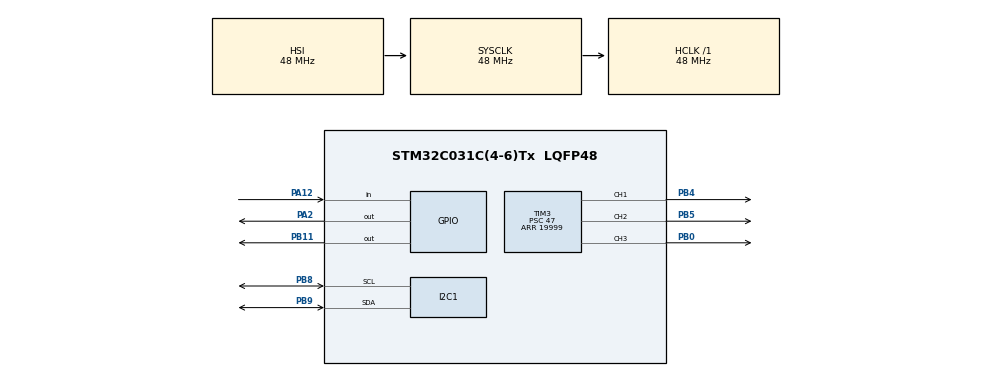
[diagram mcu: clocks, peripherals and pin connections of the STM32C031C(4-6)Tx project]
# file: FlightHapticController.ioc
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I2C1.Timing=0x10805D88
Mcu.Family=STM32C0
Mcu.Name=STM32C031C(4-6)Tx
Mcu.Package=LQFP48
PA12\ [PA10].GPIO_PuPd=GPIO_PULLDOWN
PA12\ [PA10].Signal=GPIO_Input
PA13.GPIO_Label=DEBUG_SWDIO
PA13.Signal=DEBUG_SWDIO
PA14-BOOT0.GPIO_Label=DEBUG_SWCLK
PA14-BOOT0.Signal=DEBUG_SWCLK
PA2.Signal=GPIO_Output
PA3.GPIO_Label=VCP_USART2_RX
PA3.Signal=USART2_RX
PB0.Signal=S_TIM3_CH3
PB11.Signal=GPIO_Output
PB4.Signal=S_TIM3_CH1
PB5.Signal=S_TIM3_CH2
PB8.Mode=I2C
PB8.Signal=I2C1_SCL
PB9.Mode=I2C
PB9.Signal=I2C1_SDA
PC14-OSCX_IN\ (PC14).GPIO_Label=RCC_OSCX_IN
PC14-OSCX_IN\ (PC14).Mode=LSE-External-Oscillator
PC14-OSCX_IN\ (PC14).Signal=RCC_OSCX_IN
PC15-OSCX_OUT\ (PC15).GPIO_Label=RCC_OSCX_OUT
PC15-OSCX_OUT\ (PC15).Mode=LSE-External-Oscillator
PC15-OSCX_OUT\ (PC15).Signal=RCC_OSCX_OUT
PF0-OSC_IN\ (PF0).GPIO_Label=RCC_OSC_IN
PF0-OSC_IN\ (PF0).Signal=RCC_OSC_IN
PF1-OSC_OUT\ (PF1).GPIO_Label=RCC_OSC_OUT
PF1-OSC_OUT\ (PF1).Signal=RCC_OSC_OUT
ProjectManager.HeapSize=0x200
ProjectManager.StackSize=0x400
ProjectManager.TargetToolchain=STM32CubeIDE
RCC.ADCFreq_Value=48000000
RCC.AHBFreq_Value=48000000
RCC.CortexFreq_Value=48000000
RCC.EXTERNAL_CLOCK_VALUE=12288000
RCC.HCLKFreq_Value=48000000
RCC.HSE_VALUE=48000000
RCC.HSISYSCLKDivider=RCC_HSI_DIV1
RCC.HSI_VALUE=48000000
RCC.SYSCLKFreq_VALUE=48000000
SH.S_TIM3_CH1.0=TIM3_CH1,PWM Generation1 CH1
SH.S_TIM3_CH2.0=TIM3_CH2,PWM Generation2 CH2
SH.S_TIM3_CH3.0=TIM3_CH3,PWM Generation3 CH3
TIM3.Channel-PWM\ Generation1\ CH1=TIM_CHANNEL_1
TIM3.Channel-PWM\ Generation2\ CH2=TIM_CHANNEL_2
TIM3.Channel-PWM\ Generation3\ CH3=TIM_CHANNEL_3
TIM3.Period=19999
TIM3.Prescaler=47
TIM3.Pulse-PWM\ Generation3\ CH3=1500           
VP_TIM3_VS_ClockSourceINT.Mode=Internal
board=NUCLEO-C031C6

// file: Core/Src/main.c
/* USER CODE BEGIN Header */
/**
  ******************************************************************************
  * @file           : main.c
  * @brief          : Main program body
  ******************************************************************************
  * @attention
  *
  * Copyright (c) 2026 STMicroelectronics.
  * All rights reserved.
  *
  * This software is licensed under terms that can be found in the LICENSE file
  * in the root directory of this software component.
  * If no LICENSE file comes with this software, it is provided AS-IS.
  *
  ******************************************************************************
  */
/* USER CODE END Header */
#include "main.h"

/* USER CODE BEGIN Includes */
#include <math.h>
#include <stddef.h>
#include <stdio.h>
#include <string.h>

/* USER CODE END Includes */

#ifndef HAPTIC_HOST_TEST

I2C_HandleTypeDef hi2c1;

TIM_HandleTypeDef htim3;

void SystemClock_Config(void);
static void MX_GPIO_Init(void);
static void MX_I2C1_Init(void);
static void MX_TIM3_Init(void);

/* USER CODE BEGIN 0 */
#endif /* !HAPTIC_HOST_TEST: generated variables/prototypes */

/* ===== Flight-envelope controller ===== */
#if !defined(HAPTIC_HOST_TEST) || defined(HAPTIC_TEST_CONTROLLER) || defined(HAPTIC_TEST_APP)
/* Haptic regions, 5-degree release hysteresis and latched flight-mode policy. */

#define RAD_TO_DEG (57.29577951308232f)
#define AXIS_COMPLIANT_ENTER (30.0f)
#define AXIS_CLAMP_ENTER (50.0f)
#define TILT_COMPLIANT_ENTER (20.0f)
#define TILT_CLAMP_ENTER (70.0f)
#define RELEASE_DEADBAND (5.0f)

/*
 * Shared magnitude FSM. Outward transitions use the stated limits and inward
 * transitions require a 5-degree retreat. Exact upper limits enter clamping;
 * this resolves the brief's unspecified equality at +/-50 and at tilt 20.
 * Direct jumps across multiple regions settle in the correct state immediately.
 */
static HapticZone UpdateZone(HapticZone previous, float magnitude,
                              float compliant_enter, float clamp_enter)
{
  const float free_release = compliant_enter - RELEASE_DEADBAND;
  const float clamp_release = clamp_enter - RELEASE_DEADBAND;

  /* A large outward jump must clamp even when the previous state was free. */
  if (magnitude >= clamp_enter)
  {
    return HAPTIC_CLAMPED;
  }

  switch (previous)
  {
    case HAPTIC_CLAMPED:
      /* A sampled jump back to level may cross both release limits at once. */
      if (magnitude <= free_release)
      {
        return HAPTIC_FREE;
      }
      if (magnitude <= clamp_release)
      {
        return HAPTIC_COMPLIANT;
      }
      return HAPTIC_CLAMPED;

    case HAPTIC_COMPLIANT:
      return magnitude <= free_release ? HAPTIC_FREE : HAPTIC_COMPLIANT;

    case HAPTIC_FREE:
    default:
      return magnitude >= compliant_enter ? HAPTIC_COMPLIANT : HAPTIC_FREE;
  }
}

/*
 * Reuse the same FSM for positive/negative roll and pitch. If a sampled command
 * reverses sign, it has crossed the free region; evaluate the new side from
 * free rather than carrying the opposite side's clamped state through zero.
 */
static void UpdateAxis(HapticAxis *axis, float angle)
{
  const int8_t direction = angle > 0.0f ? 1 : (angle < 0.0f ? -1 : 0);

  if (direction != axis->direction)
  {
    axis->zone = HAPTIC_FREE;
  }
  axis->zone = UpdateZone(axis->zone, fabsf(angle),
                          AXIS_COMPLIANT_ENTER, AXIS_CLAMP_ENTER);
  axis->direction = direction;
}

/*
 * Wokwi draws increasing servo angles clockwise (positive SVG rotation).
 * The assignment defines clockwise as negative, so subtract the signed command
 * from the 90-degree neutral position. Positive roll/pitch then move anticlockwise.
 */
static float AxisServoAngle(const HapticAxis *axis, float angle)
{
  if (axis->zone == HAPTIC_FREE)
  {
    return 90.0f;
  }
  if (axis->zone == HAPTIC_CLAMPED)
  {
    /* Hold the hard boundary throughout its inward hysteresis band. */
    return 90.0f - (float)axis->direction * AXIS_CLAMP_ENTER;
  }
  return 90.0f - angle;
}

void Haptic_Init(HapticController *controller)
{
  if (controller == NULL)
  {
    return;
  }

  /* Zero-valued enums deliberately represent free regions and manual mode. */
  *controller = (HapticController){0};
  controller->roll_servo_deg = 90.0f;
  controller->pitch_servo_deg = 90.0f;
  controller->tilt_servo_deg = 0.0f;
}

bool Haptic_CalculateAngles(float ax, float ay, float az, HapticAngles *out)
{
  float scale;
  HapticAngles calculated;

  if (out == NULL || !isfinite(ax) || !isfinite(ay) || !isfinite(az))
  {
    return false;
  }

  /*
   * The equations are independent of common scale. Normalising by the largest
   * component avoids overflow/underflow in squaring without changing angles.
   */
  scale = fmaxf(fabsf(ax), fmaxf(fabsf(ay), fabsf(az)));
  if (scale == 0.0f)
  {
    return false;
  }
  ax /= scale;
  ay /= scale;
  az /= scale;

  calculated.roll_deg = atan2f(ay, az) * RAD_TO_DEG;
  calculated.pitch_deg = atan2f(-ax, sqrtf(ay * ay + az * az)) * RAD_TO_DEG;
  calculated.tilt_deg = sqrtf(calculated.pitch_deg * calculated.pitch_deg
                              + calculated.roll_deg * calculated.roll_deg);
  *out = calculated;
  return true;
}

void Haptic_Update(HapticController *controller, const HapticAngles *angles,
                   bool sensor_valid, bool button_pressed)
{
  if (controller == NULL)
  {
    return;
  }

  /* Invalid data must never flow into comparisons or PWM conversion. */
  controller->sensor_valid = sensor_valid && angles != NULL
      && isfinite(angles->roll_deg) && isfinite(angles->pitch_deg)
      && isfinite(angles->tilt_deg) && angles->tilt_deg >= 0.0f;
  if (!controller->sensor_valid)
  {
    controller->mode = HAPTIC_AUTOPILOT;
    controller->roll_servo_deg = 90.0f;
    controller->pitch_servo_deg = 90.0f;
    controller->tilt_servo_deg = 0.0f;
    return;
  }

  controller->angles = *angles;
  UpdateAxis(&controller->roll, angles->roll_deg);
  UpdateAxis(&controller->pitch, angles->pitch_deg);
  controller->tilt_zone = UpdateZone(controller->tilt_zone, angles->tilt_deg,
                                     TILT_COMPLIANT_ENTER, TILT_CLAMP_ENTER);

  /* Automatic entry has priority over a button event in the same sample. */
  if (controller->roll.zone == HAPTIC_CLAMPED
      && controller->pitch.zone == HAPTIC_CLAMPED)
  {
    controller->mode = HAPTIC_AUTOPILOT;
  }
  else if (button_pressed)
  {
    if (controller->mode == HAPTIC_MANUAL)
    {
      controller->mode = HAPTIC_AUTOPILOT;
    }
    else if (controller->roll.zone == HAPTIC_FREE
             && controller->pitch.zone == HAPTIC_FREE
             && fabsf(angles->roll_deg) < AXIS_COMPLIANT_ENTER
             && fabsf(angles->pitch_deg) < AXIS_COMPLIANT_ENTER)
    {
      /* A rejected press is consumed; a later safe sample needs a new press. */
      controller->mode = HAPTIC_MANUAL;
    }
  }

  controller->roll_servo_deg = AxisServoAngle(&controller->roll, angles->roll_deg);
  controller->pitch_servo_deg = AxisServoAngle(&controller->pitch, angles->pitch_deg);

  /* Tilt has no sign and uses twice the detected angle to fill the servo range. */
  switch (controller->tilt_zone)
  {
    case HAPTIC_CLAMPED:
      controller->tilt_servo_deg = 2.0f * TILT_CLAMP_ENTER;
      break;
    case HAPTIC_COMPLIANT:
      controller->tilt_servo_deg = 2.0f * angles->tilt_deg;
      break;
    case HAPTIC_FREE:
    default:
      controller->tilt_servo_deg = 0.0f;
      break;
  }
}
#endif

/* ===== Software-I2C protocol ===== */
#if !defined(HAPTIC_HOST_TEST) || defined(HAPTIC_TEST_SOFT_I2C) || defined(HAPTIC_TEST_GPIO_I2C)
/*
 * Standard-mode I2C using real GPIO levels. No sensor samples are synthesized:
 * every address and written byte requires a slave ACK, and all received data
 * comes from SDA. This transport avoids reliance on simulated I2C status flags.
 */

#define HALF_PERIOD_US 5U
#define STRETCH_TIMEOUT_MS 2U
#define STRETCH_POLL_LIMIT 2000U

static bool ValidBus(const SoftI2CBus *bus)
{
  return bus != NULL && bus->set_scl != NULL && bus->set_sda != NULL
      && bus->read_scl != NULL && bus->read_sda != NULL
      && bus->delay_us != NULL && bus->get_tick != NULL;
}

static void HalfPeriod(SoftI2CBus *bus)
{
  bus->delay_us(bus->context, HALF_PERIOD_US);
}

/* Respect slave clock stretching, with a second bound if the tick freezes. */
static SoftI2CResult RaiseClock(SoftI2CBus *bus)
{
  const uint32_t start = bus->get_tick(bus->context);
  uint32_t polls = 0;
  bus->set_scl(bus->context, true);
  while (!bus->read_scl(bus->context))
  {
    if ((uint32_t)(bus->get_tick(bus->context) - start) >= STRETCH_TIMEOUT_MS
        || polls++ >= STRETCH_POLL_LIMIT)
    {
      return SOFT_I2C_TIMEOUT;
    }
    bus->delay_us(bus->context, 1U);
  }
  return SOFT_I2C_OK;
}

/* SDA falling while SCL is high is START, including a repeated START. */
static SoftI2CResult Start(SoftI2CBus *bus)
{
  bus->set_sda(bus->context, true);
  HalfPeriod(bus);
  if (RaiseClock(bus) != SOFT_I2C_OK) return SOFT_I2C_TIMEOUT;
  HalfPeriod(bus);
  if (!bus->read_sda(bus->context)) return SOFT_I2C_BUS_STUCK;
  bus->set_sda(bus->context, false);
  HalfPeriod(bus);
  bus->set_scl(bus->context, false);
  return SOFT_I2C_OK;
}

/* Release SDA even when a stuck clock makes a complete STOP impossible. */
static SoftI2CResult Stop(SoftI2CBus *bus)
{
  bus->set_scl(bus->context, false);
  bus->set_sda(bus->context, false);
  HalfPeriod(bus);
  const SoftI2CResult result = RaiseClock(bus);
  HalfPeriod(bus);
  bus->set_sda(bus->context, true);
  HalfPeriod(bus);
  if (result != SOFT_I2C_OK) return result;
  return bus->read_sda(bus->context) ? SOFT_I2C_OK : SOFT_I2C_BUS_STUCK;
}

/* Preserve the first transfer error while still trying to release the bus. */
static SoftI2CResult Finish(SoftI2CBus *bus, SoftI2CResult result)
{
  const SoftI2CResult stop_result = Stop(bus);
  return result == SOFT_I2C_OK ? stop_result : result;
}

/* Send MSB first, then release SDA for the slave's ninth-clock ACK. */
static SoftI2CResult WriteByte(SoftI2CBus *bus, uint8_t byte)
{
  for (unsigned bit = 0; bit < 8U; ++bit)
  {
    bus->set_sda(bus->context, (byte & 0x80U) != 0U);
    HalfPeriod(bus);
    if (RaiseClock(bus) != SOFT_I2C_OK) return SOFT_I2C_TIMEOUT;
    HalfPeriod(bus);
    bus->set_scl(bus->context, false);
    byte <<= 1;
  }
  bus->set_sda(bus->context, true);
  HalfPeriod(bus);
  if (RaiseClock(bus) != SOFT_I2C_OK) return SOFT_I2C_TIMEOUT;
  HalfPeriod(bus);
  const bool acknowledged = !bus->read_sda(bus->context);
  bus->set_scl(bus->context, false);
  return acknowledged ? SOFT_I2C_OK : SOFT_I2C_NACK;
}

/* A master ACK requests another byte; its final NACK terminates the read. */
static SoftI2CResult ReadByte(SoftI2CBus *bus, uint8_t *byte, bool acknowledge)
{
  uint8_t received = 0;
  bus->set_sda(bus->context, true);
  for (unsigned bit = 0; bit < 8U; ++bit)
  {
    HalfPeriod(bus);
    if (RaiseClock(bus) != SOFT_I2C_OK) return SOFT_I2C_TIMEOUT;
    HalfPeriod(bus);
    received = (uint8_t)((received << 1)
                    | (bus->read_sda(bus->context) ? 1U : 0U));
    bus->set_scl(bus->context, false);
  }
  bus->set_sda(bus->context, !acknowledge);
  HalfPeriod(bus);
  if (RaiseClock(bus) != SOFT_I2C_OK) return SOFT_I2C_TIMEOUT;
  HalfPeriod(bus);
  bus->set_scl(bus->context, false);
  bus->set_sda(bus->context, true);
  *byte = received;
  return SOFT_I2C_OK;
}

SoftI2CResult SoftI2C_Recover(SoftI2CBus *bus)
{
  if (!ValidBus(bus)) return SOFT_I2C_INVALID_ARGUMENT;
  bus->set_sda(bus->context, true);
  if (RaiseClock(bus) != SOFT_I2C_OK)
  {
    return SOFT_I2C_TIMEOUT;
  }
  HalfPeriod(bus);
  /* A slave waiting to finish an interrupted byte can release within 9 clocks. */
  for (unsigned pulse = 0; pulse < 9U && !bus->read_sda(bus->context); ++pulse)
  {
    bus->set_scl(bus->context, false);
    HalfPeriod(bus);
    if (RaiseClock(bus) != SOFT_I2C_OK) return Finish(bus, SOFT_I2C_TIMEOUT);
    HalfPeriod(bus);
  }
  const SoftI2CResult result = bus->read_sda(bus->context)
      ? SOFT_I2C_OK : SOFT_I2C_BUS_STUCK;
  return Finish(bus, result);
}

SoftI2CResult SoftI2C_ReadRegister(SoftI2CBus *bus, uint8_t address,
                                uint8_t reg, uint8_t *data, uint16_t length)
{
  if (!ValidBus(bus) || address > 0x7FU || data == NULL || length == 0U)
  {
    return SOFT_I2C_INVALID_ARGUMENT;
  }
  SoftI2CResult result = Start(bus);
  if (result == SOFT_I2C_OK) result = WriteByte(bus, (uint8_t)(address << 1));
  if (result == SOFT_I2C_OK) result = WriteByte(bus, reg);
  if (result == SOFT_I2C_OK) result = Start(bus);
  if (result == SOFT_I2C_OK)
  {
    result = WriteByte(bus, (uint8_t)((address << 1) | 1U));
  }
  for (uint16_t index = 0; result == SOFT_I2C_OK && index < length; ++index)
  {
    result = ReadByte(bus, &data[index], index + 1U < length);
  }
  return Finish(bus, result);
}

SoftI2CResult SoftI2C_WriteRegister(SoftI2CBus *bus, uint8_t address,
                                 uint8_t reg, const uint8_t *data,
                                 uint16_t length)
{
  if (!ValidBus(bus) || address > 0x7FU || data == NULL || length == 0U)
  {
    return SOFT_I2C_INVALID_ARGUMENT;
  }
  SoftI2CResult result = Start(bus);
  if (result == SOFT_I2C_OK) result = WriteByte(bus, (uint8_t)(address << 1));
  if (result == SOFT_I2C_OK) result = WriteByte(bus, reg);
  for (uint16_t index = 0; result == SOFT_I2C_OK && index < length; ++index)
  {
    result = WriteByte(bus, data[index]);
  }
  return Finish(bus, result);
}
#endif

/* ===== STM32 GPIO and timing adapter ===== */
#if !defined(HAPTIC_HOST_TEST) || defined(HAPTIC_TEST_GPIO_I2C)
/*
 * GPIO adapter for standards-based software I2C. This transport observes actual
 * SDA acknowledgements and register bytes; it does not supply simulated samples.
 * PB8/PB9 remain the assignment's SCL/SDA pins, independent of I2C1 emulation.
 */

#define MPU_ADDRESS_7BIT 0x68U
#define SCL_PIN GPIO_PIN_8
#define SDA_PIN GPIO_PIN_9
#define DELAY_GUARD_MS 2U
#define DELAY_POLL_LIMIT 4096U

/* A timing failure makes SCL unavailable instead of producing unclocked data. */
static bool timing_fault;
HapticSoftI2CStatus haptic_soft_i2c_status;

/* These readings bypass the timing guard in ReadScl: record electrical levels. */
static uint8_t RawBusLines(void)
{
  return (HAL_GPIO_ReadPin(GPIOB, SCL_PIN) == GPIO_PIN_SET ? 1U : 0U)
       | (HAL_GPIO_ReadPin(GPIOB, SDA_PIN) == GPIO_PIN_SET ? 2U : 0U);
}

/* In open-drain mode SET releases the pin; only RESET actively drives it low. */
static void SetScl(void *context, bool high)
{
  (void)context;
  HAL_GPIO_WritePin(GPIOB, SCL_PIN, high ? GPIO_PIN_SET : GPIO_PIN_RESET);
}

static void SetSda(void *context, bool high)
{
  (void)context;
  HAL_GPIO_WritePin(GPIOB, SDA_PIN, high ? GPIO_PIN_SET : GPIO_PIN_RESET);
}

/* Read physical line states so pullups, slave ACKs and clock stretching matter. */
static bool ReadScl(void *context)
{
  (void)context;
  return !timing_fault && HAL_GPIO_ReadPin(GPIOB, SCL_PIN) == GPIO_PIN_SET;
}

static bool ReadSda(void *context)
{
  (void)context;
  return HAL_GPIO_ReadPin(GPIOB, SDA_PIN) == GPIO_PIN_SET;
}

/*
 * Use the Cortex-M SysTick down-counter for microsecond bus timing. Account for
 * its reload across a millisecond boundary. IRQ/tick and iteration guards keep
 * an absent or stopped simulated counter from hanging the application.
 */
static void DelayUs(void *context, uint32_t microseconds)
{
  (void)context;
  const uint32_t control = SysTick->CTRL;
  const uint32_t reload = SysTick->LOAD + 1U;
  uint32_t clock_hz = SystemCoreClock;

  if ((control & SysTick_CTRL_CLKSOURCE_Msk) == 0U)
  {
    clock_hz /= 8U;
  }
  if (microseconds == 0U || timing_fault)
  {
    return;
  }
  /* Save the first failed delay; subsequent STOP/recovery cannot overwrite it. */
  haptic_soft_i2c_status.systick_ctrl = control;
  haptic_soft_i2c_status.systick_load = reload - 1U;
  haptic_soft_i2c_status.val_first = SysTick->VAL;
  haptic_soft_i2c_status.val_last = haptic_soft_i2c_status.val_first;
  haptic_soft_i2c_status.elapsed_cycles = 0U;
  haptic_soft_i2c_status.polls = 0U;
  if ((control & SysTick_CTRL_ENABLE_Msk) == 0U || reload <= 1U
      || clock_hz < 1000000U || microseconds > 1000U)
  {
    haptic_soft_i2c_status.timing_fault =
        (control & SysTick_CTRL_ENABLE_Msk) == 0U
        ? HAPTIC_TIMING_DISABLED : HAPTIC_TIMING_CONFIG;
    timing_fault = true;
    return;
  }

  uint32_t remaining = ((clock_hz + 999999U) / 1000000U) * microseconds;
  uint32_t previous = haptic_soft_i2c_status.val_first;
  bool tick_guard = false;
  const uint32_t started_ms = HAL_GetTick();
  for (uint32_t polls = 0U; polls < DELAY_POLL_LIMIT; ++polls)
  {
    const uint32_t current = SysTick->VAL;
    const uint32_t elapsed = previous >= current ? previous - current
                                               : previous + reload - current;
    haptic_soft_i2c_status.val_last = current;
    haptic_soft_i2c_status.polls = polls + 1U;
    haptic_soft_i2c_status.elapsed_cycles += elapsed;
    if (elapsed >= remaining)
    {
      return;
    }
    remaining -= elapsed;
    previous = current;
    if ((uint32_t)(HAL_GetTick() - started_ms) >= DELAY_GUARD_MS)
    {
      tick_guard = true;
      break;
    }
  }
  haptic_soft_i2c_status.timing_fault =
      haptic_soft_i2c_status.elapsed_cycles == 0U ? HAPTIC_TIMING_NO_PROGRESS
      : (tick_guard ? HAPTIC_TIMING_TICK_GUARD : HAPTIC_TIMING_POLL_GUARD);
  timing_fault = true;
}

static uint32_t GetTick(void *context)
{
  (void)context;
  return HAL_GetTick();
}

static SoftI2CBus bus = {
  .context = NULL,
  .set_scl = SetScl,
  .set_sda = SetSda,
  .read_scl = ReadScl,
  .read_sda = ReadSda,
  .delay_us = DelayUs,
  .get_tick = GetTick
};

bool HapticSoftI2C_Init(void)
{
  GPIO_InitTypeDef pins = {0};
  timing_fault = false;
  haptic_soft_i2c_status = (HapticSoftI2CStatus){0};
  __HAL_RCC_GPIOB_CLK_ENABLE();

  /* Preload released levels before switching the pins out of alternate mode. */
  HAL_GPIO_WritePin(GPIOB, SCL_PIN | SDA_PIN, GPIO_PIN_SET);
  pins.Pin = SCL_PIN | SDA_PIN;
  pins.Mode = GPIO_MODE_OUTPUT_OD;
  pins.Pull = GPIO_PULLUP;
  pins.Speed = GPIO_SPEED_FREQ_LOW;
  HAL_GPIO_Init(GPIOB, &pins);

  haptic_soft_i2c_status.lines_before = RawBusLines();
  haptic_soft_i2c_status.recover_result = SoftI2C_Recover(&bus);
  haptic_soft_i2c_status.lines_after = RawBusLines();
  haptic_soft_i2c_status.gpio_odr = GPIOB->ODR;
  haptic_soft_i2c_status.gpio_moder = GPIOB->MODER;
  haptic_soft_i2c_status.gpio_pupdr = GPIOB->PUPDR;
  return haptic_soft_i2c_status.recover_result == SOFT_I2C_OK && !timing_fault;
}

SoftI2CResult HapticSoftI2C_Read(uint8_t reg, uint8_t *data, uint16_t length)
{
  const SoftI2CResult result = SoftI2C_ReadRegister(&bus, MPU_ADDRESS_7BIT,
                                                reg, data, length);
  return timing_fault ? SOFT_I2C_TIMEOUT : result;
}

SoftI2CResult HapticSoftI2C_Write(uint8_t reg, uint8_t value)
{
  const SoftI2CResult result = SoftI2C_WriteRegister(&bus, MPU_ADDRESS_7BIT,
                                                 reg, &value, 1U);
  return timing_fault ? SOFT_I2C_TIMEOUT : result;
}
#endif

/* ===== Sensor sampling, servos, LEDs and button ===== */
#if !defined(HAPTIC_HOST_TEST) || defined(HAPTIC_TEST_APP)
/*
 * Assignment hardware adapter. MPU6050 acceleration and PWM are updated together
 * every 20 ms. Flight-envelope decisions use the controller section above.
 * STM32Cube-generated peripheral initialization follows below and in MSP code.
 */

#define MPU_ADDRESS (0x68U << 1)
#define MPU_ACCEL_XOUT_H 0x3BU
#define MPU_WHO_AM_I 0x75U
#define MPU_PWR_MGMT_1 0x6BU
#define MPU_ACCEL_CONFIG 0x1CU
#define SAMPLE_PERIOD_MS 20U
#define BUTTON_DEBOUNCE_MS 30U
#define SENSOR_RETRY_MS 1000U
#define I2C_TIMEOUT_MS 5U
#define I2C_ERROR_NO_ACK 0x00000004U
#define I2C_ERROR_TIMEOUT 0x00000020U
#define I2C_ERROR_GPIO_BUS 0x00010000U

HapticController haptic_controller;
HapticAppStatus haptic_app_status;
HapticHardwareI2CStatus haptic_hw_i2c_status;
static I2C_HandleTypeDef *sensor_i2c;
static TIM_HandleTypeDef *servo_timer;
static uint32_t last_sample_ms;
static uint32_t last_retry_ms;
static uint32_t button_changed_ms;
static GPIO_PinState button_candidate;
static GPIO_PinState button_stable;
static bool sensor_ready;
static bool pending_press;
static bool split_read_selected;

static bool hw_trace_active;
static uint32_t hw_trace_flag;
static uint32_t hw_trace_isr;
static uint32_t hw_trace_cr2;

/*
 * The instrumented driver reads ISR once, just as the original HAL macro does.
 * For a pure timeout, HAL rechecks the awaited flag immediately before returning;
 * that last observation identifies the actual BUSY/TXIS/TC/RXNE/STOPF wait.
 * No registers are written and no time or serial calls occur in this observer.
 */
uint32_t HapticTraceI2CFlag(I2C_HandleTypeDef *handle, uint32_t flag)
{
  const uint32_t isr = handle->Instance->ISR;
  if (hw_trace_active)
  {
    hw_trace_flag = flag;
    hw_trace_isr = isr;
    hw_trace_cr2 = handle->Instance->CR2;
  }
  return (isr & flag) == flag ? 1U : 0U;
}

static void BeginHardwareTrace(void)
{
  hw_trace_flag = 0U;
  hw_trace_isr = sensor_i2c->Instance->ISR;
  hw_trace_cr2 = sensor_i2c->Instance->CR2;
  hw_trace_active = true;
}

/* Save the first failure before deinitialization or GPIO ownership changes. */
static void EndHardwareTrace(void)
{
  hw_trace_active = false;
  haptic_app_status.i2c_error = HAL_I2C_GetError(sensor_i2c);
  if (haptic_app_status.hal_status == HAL_OK || haptic_hw_i2c_status.captured)
  {
    return;
  }
  haptic_hw_i2c_status.error = haptic_app_status.i2c_error;
  haptic_hw_i2c_status.flag = hw_trace_flag;
  haptic_hw_i2c_status.isr = hw_trace_isr;
  haptic_hw_i2c_status.cr1 = sensor_i2c->Instance->CR1;
  haptic_hw_i2c_status.cr2 = hw_trace_cr2;
  haptic_hw_i2c_status.timingr = sensor_i2c->Instance->TIMINGR;
  haptic_hw_i2c_status.gpio_idr = GPIOB->IDR;
  haptic_hw_i2c_status.moder = GPIOB->MODER;
  haptic_hw_i2c_status.otyper = GPIOB->OTYPER;
  haptic_hw_i2c_status.pupdr = GPIOB->PUPDR;
  haptic_hw_i2c_status.afr = GPIOB->AFR[1];
  haptic_hw_i2c_status.captured = true;
}

/* Preserve real bus errors when translating the GPIO transport's result. */
static bool SoftwareResult(SoftI2CResult result)
{
  haptic_app_status.hal_status = result == SOFT_I2C_OK ? HAL_OK : HAL_ERROR;
  haptic_app_status.i2c_error = result == SOFT_I2C_OK ? 0U
      : (result == SOFT_I2C_NACK ? I2C_ERROR_NO_ACK
      : (result == SOFT_I2C_TIMEOUT ? I2C_ERROR_TIMEOUT : I2C_ERROR_GPIO_BUS));
  return result == SOFT_I2C_OK;
}

/*
 * A simulator peripheral may fail to advance a hardware status flag. Switch
 * the same PB8/PB9 bus to open-drain GPIO only after a confirmed HAL timeout.
 * This still requires a real ACK, identity byte and accelerometer data from
 * the MPU6050; it never substitutes synthetic sensor values.
 */
static bool StartSoftwareFallback(void)
{
  if ((haptic_app_status.i2c_error & I2C_ERROR_TIMEOUT) == 0U) return false;
  haptic_app_status.hardware_error = haptic_app_status.i2c_error;
  if (HAL_I2C_DeInit(sensor_i2c) != HAL_OK) return false;
  /* Once GPIO owns these pins, recovery must keep using that transport. */
  haptic_app_status.software_i2c = true;
  if (!HapticSoftI2C_Init())
  {
    return SoftwareResult(SOFT_I2C_BUS_STUCK);
  }
  return true;
}

/*
 * The connected simulator completed the WHO_AM_I pointer write but left CR2
 * in write direction while HAL waited for RXNE. Try a STOP between the pointer
 * and the read only for that measured failure. Both HAL calls still require a
 * real sensor ACK and data byte. Record which step fails if it does not work.
 */
static bool Sensor_ReadWithStop(uint8_t reg, uint8_t *data, uint16_t length,
                                bool reset_bus)
{
  haptic_app_status.split_read_stage = 1U;
  if (reset_bus)
  {
    haptic_app_status.hal_status = HAL_I2C_DeInit(sensor_i2c);
    if (haptic_app_status.hal_status == HAL_OK)
    {
      haptic_app_status.hal_status = HAL_I2C_Init(sensor_i2c);
    }
    if (haptic_app_status.hal_status != HAL_OK) goto failed;
  }
  haptic_app_status.split_read_stage = 2U;
  haptic_app_status.hal_status = HAL_I2C_Master_Transmit(sensor_i2c,
      MPU_ADDRESS, &reg, 1U, I2C_TIMEOUT_MS);
  if (haptic_app_status.hal_status != HAL_OK) goto failed;
  haptic_app_status.split_read_stage = 3U;
  haptic_app_status.hal_status = HAL_I2C_Master_Receive(sensor_i2c,
      MPU_ADDRESS, data, length, I2C_TIMEOUT_MS);
  if (haptic_app_status.hal_status != HAL_OK) goto failed;
  haptic_app_status.split_read_stage = 4U;
  haptic_app_status.split_read_error = 0U;
  haptic_app_status.i2c_error = 0U;
  split_read_selected = true;
  return true;

failed:
  haptic_app_status.split_read_error = HAL_I2C_GetError(sensor_i2c);
  haptic_app_status.i2c_error = haptic_app_status.split_read_error;
  return false;
}

/*
 * Read a device register with a repeated START. The memory API issues START
 * before writing TXDR, avoiding the newer generic master API's preload path.
 */
static bool Sensor_Read(uint8_t reg, uint8_t *data, uint16_t length)
{
  haptic_app_status.register_address = reg;
  if (haptic_app_status.software_i2c)
  {
    return SoftwareResult(HapticSoftI2C_Read(reg, data, length));
  }
  if (split_read_selected)
  {
    if (Sensor_ReadWithStop(reg, data, length, false)) return true;
    split_read_selected = false;
    if (StartSoftwareFallback())
    {
      return SoftwareResult(HapticSoftI2C_Read(reg, data, length));
    }
    return false;
  }
  BeginHardwareTrace();
  haptic_app_status.hal_status = HAL_I2C_Mem_Read(sensor_i2c, MPU_ADDRESS,
      reg, I2C_MEMADD_SIZE_8BIT, data, length, I2C_TIMEOUT_MS);
  EndHardwareTrace();
  if (haptic_app_status.hal_status != HAL_OK
      && haptic_app_status.i2c_error == I2C_ERROR_TIMEOUT
      && hw_trace_flag == I2C_FLAG_RXNE
      && (hw_trace_isr & I2C_FLAG_TC) != 0U
      && (hw_trace_cr2 & I2C_CR2_RD_WRN) == 0U)
  {
    haptic_app_status.hardware_error = haptic_app_status.i2c_error;
    if (Sensor_ReadWithStop(reg, data, length, true)) return true;
    /* Retain the original timeout for the existing GPIO recovery decision. */
    haptic_app_status.i2c_error = I2C_ERROR_TIMEOUT;
  }
  if (haptic_app_status.hal_status != HAL_OK && StartSoftwareFallback())
  {
    return SoftwareResult(HapticSoftI2C_Read(reg, data, length));
  }
  return haptic_app_status.hal_status == HAL_OK;
}

/* Write the register address followed by its value through the memory API. */
static bool Sensor_Write(uint8_t reg, uint8_t value)
{
  haptic_app_status.register_address = reg;
  if (haptic_app_status.software_i2c)
  {
    return SoftwareResult(HapticSoftI2C_Write(reg, value));
  }
  BeginHardwareTrace();
  haptic_app_status.hal_status = HAL_I2C_Mem_Write(sensor_i2c, MPU_ADDRESS,
      reg, I2C_MEMADD_SIZE_8BIT, &value, 1, I2C_TIMEOUT_MS);
  EndHardwareTrace();
  if (haptic_app_status.hal_status != HAL_OK && StartSoftwareFallback())
  {
    return SoftwareResult(HapticSoftI2C_Write(reg, value));
  }
  return haptic_app_status.hal_status == HAL_OK;
}

/* Confirm the expected device, wake it, and select +/-2g (16384 counts/g). */
static bool Sensor_Init(void)
{
  haptic_app_status.identity = 0;
  haptic_app_status.fault = HAPTIC_SENSOR_WHO_READ;
  if (!Sensor_Read(MPU_WHO_AM_I, &haptic_app_status.identity, 1)) return false;
  haptic_app_status.fault = HAPTIC_SENSOR_IDENTITY;
  if (haptic_app_status.identity != 0x68U) return false;
  haptic_app_status.fault = HAPTIC_SENSOR_WAKE;
  if (!Sensor_Write(MPU_PWR_MGMT_1, 0x00U)) return false;
  haptic_app_status.fault = HAPTIC_SENSOR_CONFIG;
  if (!Sensor_Write(MPU_ACCEL_CONFIG, 0x00U)) return false;
  /* Wait AFTER clearing sleep so a first zero sample cannot be a wake artifact. */
  HAL_Delay(100);
  haptic_app_status.fault = HAPTIC_SENSOR_NONE;
  return true;
}

/* Decode signed big-endian values without implementation-defined signed casts. */
static float Acceleration(const uint8_t *bytes)
{
  const uint32_t raw = ((uint32_t)bytes[0] << 8) | bytes[1];
  const int32_t signed_raw = raw >= 32768U ? (int32_t)raw - 65536 : (int32_t)raw;
  return (float)signed_raw / 16384.0f;
}

/*
 * Use the Arduino Servo pulse range, 544..2400 us for 0..180 degrees.
 * TIM3 counts microseconds: 48 MHz / (47+1), with a 20000-count PWM period.
 * Confirm the final visual positions in Wokwi before recording results.
 */
static uint32_t ServoPulse(float degrees)
{
  if (degrees < 0.0f) degrees = 0.0f;
  if (degrees > 180.0f) degrees = 180.0f;
  return (uint32_t)(544.0f + degrees * (1856.0f / 180.0f) + 0.5f);
}

/* PB4=roll, PB5=pitch, PB0=tilt; PA2/PB11 indicate the latched mode. */
static void ApplyOutputs(void)
{
  __HAL_TIM_SET_COMPARE(servo_timer, TIM_CHANNEL_1,
                        ServoPulse(haptic_controller.roll_servo_deg));
  __HAL_TIM_SET_COMPARE(servo_timer, TIM_CHANNEL_2,
                        ServoPulse(haptic_controller.pitch_servo_deg));
  __HAL_TIM_SET_COMPARE(servo_timer, TIM_CHANNEL_3,
                        ServoPulse(haptic_controller.tilt_servo_deg));
  HAL_GPIO_WritePin(GPIOA, GPIO_PIN_2,
      haptic_controller.mode == HAPTIC_AUTOPILOT ? GPIO_PIN_SET : GPIO_PIN_RESET);
  HAL_GPIO_WritePin(GPIOB, GPIO_PIN_11,
      haptic_controller.mode == HAPTIC_MANUAL ? GPIO_PIN_SET : GPIO_PIN_RESET);
}

/* Debounce both edges; only a stable rising edge creates one consumable event. */
static void PollButton(uint32_t now)
{
  const GPIO_PinState raw = HAL_GPIO_ReadPin(GPIOA, GPIO_PIN_12);
  if (raw != button_candidate)
  {
    button_candidate = raw;
    button_changed_ms = now;
  }
  if (raw != button_stable
      && (uint32_t)(now - button_changed_ms) >= BUTTON_DEBOUNCE_MS)
  {
    button_stable = raw;
    if (raw == GPIO_PIN_SET) pending_press = true;
  }
}

void HapticApp_Init(I2C_HandleTypeDef *i2c, TIM_HandleTypeDef *timer)
{
  sensor_i2c = i2c;
  servo_timer = timer;
  haptic_app_status = (HapticAppStatus){0};
  split_read_selected = false;
  haptic_hw_i2c_status = (HapticHardwareI2CStatus){0};
  /* Before the first transaction, observe whether the released bus is high. */
  haptic_hw_i2c_status.boot_idr = GPIOB->IDR;
  hw_trace_active = false;
  Haptic_Init(&haptic_controller);
  /* A button held at boot must be released before it can generate an edge. */
  button_candidate = HAL_GPIO_ReadPin(GPIOA, GPIO_PIN_12);
  button_stable = button_candidate;
  pending_press = false;
  ApplyOutputs();
  if (HAL_TIM_PWM_Start(timer, TIM_CHANNEL_1) != HAL_OK
      || HAL_TIM_PWM_Start(timer, TIM_CHANNEL_2) != HAL_OK
      || HAL_TIM_PWM_Start(timer, TIM_CHANNEL_3) != HAL_OK)
  {
    Error_Handler();
  }
  /* MPU6050 requires startup time; PWM is already at neutral while waiting. */
  HAL_Delay(100);
  sensor_ready = Sensor_Init();
  last_sample_ms = HAL_GetTick();
  last_retry_ms = last_sample_ms;
  button_changed_ms = last_sample_ms;
  if (!sensor_ready)
  {
    Haptic_Update(&haptic_controller, NULL, false, false);
    ApplyOutputs();
  }
}

void HapticApp_Poll(void)
{
  const uint32_t now = HAL_GetTick();
  uint8_t bytes[6];
  HapticAngles angles;
  bool valid = false;

  PollButton(now);
  /* Unsigned subtraction also works when the millisecond counter wraps. */
  if ((uint32_t)(now - last_sample_ms) < SAMPLE_PERIOD_MS) return;
  last_sample_ms = now;

  if (!sensor_ready && (uint32_t)(now - last_retry_ms) >= SENSOR_RETRY_MS)
  {
    haptic_app_status.fault = HAPTIC_SENSOR_RECOVERY;
    if (haptic_app_status.software_i2c)
    {
      sensor_ready = HapticSoftI2C_Init();
      if (!sensor_ready) (void)SoftwareResult(SOFT_I2C_BUS_STUCK);
    }
    else
    {
      /* Reset the HAL/peripheral state before retrying a failed transaction. */
      haptic_app_status.hal_status = HAL_I2C_DeInit(sensor_i2c);
      if (haptic_app_status.hal_status == HAL_OK)
      {
        haptic_app_status.hal_status = HAL_I2C_Init(sensor_i2c);
      }
      haptic_app_status.i2c_error = HAL_I2C_GetError(sensor_i2c);
      sensor_ready = haptic_app_status.hal_status == HAL_OK;
    }
    sensor_ready = sensor_ready && Sensor_Init();
    last_retry_ms = HAL_GetTick();
    last_sample_ms = last_retry_ms;
    /* Allow at least one sample period after waking the sensor. */
    Haptic_Update(&haptic_controller, NULL, false, false);
    pending_press = false;
    ApplyOutputs();
    return;
  }
  if (sensor_ready)
  {
    const bool read_ok = Sensor_Read(MPU_ACCEL_XOUT_H, bytes, sizeof bytes);
    valid = read_ok && Haptic_CalculateAngles(Acceleration(&bytes[0]),
                 Acceleration(&bytes[2]), Acceleration(&bytes[4]), &angles);
    haptic_app_status.fault = !read_ok ? HAPTIC_SENSOR_ACCEL_READ
        : (valid ? HAPTIC_SENSOR_NONE : HAPTIC_SENSOR_ACCEL_INVALID);
    /* A transfer failure triggers periodic re-initialization, without blocking. */
    if (!read_ok)
    {
      sensor_ready = false;
      last_retry_ms = now;
    }
  }
  Haptic_Update(&haptic_controller, valid ? &angles : NULL, valid, pending_press);
  pending_press = false;
  ApplyOutputs();
}
#endif

/* ===== UART diagnostics ===== */
#if !defined(HAPTIC_HOST_TEST) || defined(HAPTIC_TEST_DIAGNOSTICS)
/* Keep the expanded trace within 32 KB flash; bus/control code retains -O0. */
#if defined(__GNUC__) && !defined(__clang__)
#pragma GCC push_options
#pragma GCC optimize ("Os")
#endif
/*
 * Diagnostic-only USART1 transmitter. It does not change the flight-envelope
 * policy or substitute serial observations for Wokwi servo calibration tests.
 * PA9 is already wired to the serial monitor RX in diagram.json.
 */

#define DIAGNOSTIC_BAUD_RATE 115200U
#define DIAGNOSTIC_PERIOD_MS 1000U
#define TX_WAIT_TIMEOUT_MS 2U

static uint32_t last_report_ms;
static uint32_t tx_last_progress_ms;
static char tx_buffer[640];
static uint16_t tx_position;

/*
 * Drain at most one byte per main-loop pass. A full 115200-baud record takes
 * milliseconds on the wire, so waiting for all of it here would disturb the
 * 20 ms sensor cadence. An unavailable transmitter drops the record after 2 ms
 * without progress; no diagnostic code waits for a peripheral flag.
 */
static void DrainTx(uint32_t now)
{
  if (tx_buffer[tx_position] == '\0')
  {
    return;
  }
  if ((USART1->ISR & USART_ISR_TXE_TXFNF) != 0U)
  {
    USART1->TDR = (uint8_t)tx_buffer[tx_position++];
    tx_last_progress_ms = now;
  }
  else if ((uint32_t)(now - tx_last_progress_ms) >= TX_WAIT_TIMEOUT_MS)
  {
    tx_buffer[0] = '\0';
    tx_position = 0U;
  }
}

/* Keep fault names explicit so an autopilot latch is distinct from an IMU fault. */
static const char *FaultDescription(HapticSensorFault fault)
{
  switch (fault)
  {
    case HAPTIC_SENSOR_NONE:          return "none";
    case HAPTIC_SENSOR_WHO_READ:      return "WHO_AM_I read failed";
    case HAPTIC_SENSOR_IDENTITY:      return "unexpected WHO_AM_I";
    case HAPTIC_SENSOR_WAKE:          return "sensor wake write failed";
    case HAPTIC_SENSOR_CONFIG:        return "accelerometer config failed";
    case HAPTIC_SENSOR_ACCEL_READ:    return "acceleration read failed";
    case HAPTIC_SENSOR_ACCEL_INVALID: return "zero/invalid acceleration";
    case HAPTIC_SENSOR_RECOVERY:      return "I2C recovery failed";
    default:                         return "unknown sensor fault";
  }
}

/* Numeric trace fields map directly to the enums in main.h; no diagnosis is
 * inferred from the generic 0x10000 application error. Hardware fields describe
 * the first failed transfer before deinitialization. SOFT lines are raw levels
 * before/after the latest recovery, independent of the timing-fault guard. */
static void AppendBusTrace(void)
{
  const HapticHardwareI2CStatus *h = &haptic_hw_i2c_status;
  const HapticSoftI2CStatus *s = &haptic_soft_i2c_status;
  const size_t used = strlen(tx_buffer);
  (void)snprintf(tx_buffer + used, sizeof tx_buffer - used,
      "HW captured=%u err=%08lX flag=%08lX ISR=%08lX CR1=%08lX CR2=%08lX TIMINGR=%08lX\r\n"
      "PINS IDR=%08lX BOOT=%08lX MODER=%08lX OTYPER=%08lX PUPDR=%08lX AFRH=%08lX\r\n"
      "SOFT recover=%u timing=%u lines=%u/%u ODR=%08lX MODER=%08lX PUPDR=%08lX split=%u serr=%08lX\r\n"
      "CLOCK CTRL=%08lX LOAD=%lu VAL=%lu/%lu cycles=%lu polls=%lu\r\n",
      (unsigned)h->captured, (unsigned long)h->error,
      (unsigned long)h->flag, (unsigned long)h->isr,
      (unsigned long)h->cr1, (unsigned long)h->cr2,
      (unsigned long)h->timingr, (unsigned long)h->gpio_idr,
      (unsigned long)h->boot_idr,
      (unsigned long)h->moder, (unsigned long)h->otyper,
      (unsigned long)h->pupdr, (unsigned long)h->afr,
      (unsigned)s->recover_result, (unsigned)s->timing_fault,
      (unsigned)s->lines_before, (unsigned)s->lines_after,
      (unsigned long)s->gpio_odr, (unsigned long)s->gpio_moder,
      (unsigned long)s->gpio_pupdr,
      (unsigned)haptic_app_status.split_read_stage,
      (unsigned long)haptic_app_status.split_read_error,
      (unsigned long)s->systick_ctrl, (unsigned long)s->systick_load,
      (unsigned long)s->val_first, (unsigned long)s->val_last,
      (unsigned long)s->elapsed_cycles, (unsigned long)s->polls);
}

/*
 * Use integer formatting to avoid newlib's optional floating-point printf code.
 * Retain a minus sign for values such as -0.1, whose integer degree part is zero.
 * Inputs are the finite, bounded orientation angles accepted by the controller.
 */
static void FormatAngle(char text[16], float degrees)
{
  const int32_t tenths = (int32_t)(degrees * 10.0f
                                  + (degrees < 0.0f ? -0.5f : 0.5f));
  const uint32_t magnitude = tenths < 0 ? (uint32_t)-tenths : (uint32_t)tenths;
  (void)snprintf(text, 16, "%s%lu.%lu", tenths < 0 ? "-" : "",
                 (unsigned long)(magnitude / 10U),
                 (unsigned long)(magnitude % 10U));
}

void HapticDiagnostics_Init(void)
{
  GPIO_InitTypeDef pin = {0};

  __HAL_RCC_GPIOA_CLK_ENABLE();
  __HAL_RCC_USART1_CLK_ENABLE();

  /* PA9 AF1 is USART1_TX; only transmission is needed by the serial monitor. */
  pin.Pin = GPIO_PIN_9;
  pin.Mode = GPIO_MODE_AF_PP;
  pin.Pull = GPIO_NOPULL;
  pin.Speed = GPIO_SPEED_FREQ_LOW;
  pin.Alternate = GPIO_AF1_USART1;
  HAL_GPIO_Init(GPIOA, &pin);

  /* Select PCLK explicitly; the project configures it to 48 MHz. */
  CLEAR_BIT(RCC->CCIPR, RCC_CCIPR_USART1SEL);
  USART1->CR1 = 0U;
  USART1->CR2 = 0U;
  USART1->CR3 = 0U;
  USART1->BRR = (HAL_RCC_GetPCLK1Freq() + DIAGNOSTIC_BAUD_RATE / 2U)
                / DIAGNOSTIC_BAUD_RATE;
  USART1->CR1 = USART_CR1_UE | USART_CR1_TE;
  last_report_ms = HAL_GetTick();
  tx_last_progress_ms = last_report_ms;
  tx_position = 0U;
  tx_buffer[0] = '\0';
}

void HapticDiagnostics_Poll(void)
{
  const uint32_t now = HAL_GetTick();

  DrainTx(now);
  if ((uint32_t)(now - last_report_ms) < DIAGNOSTIC_PERIOD_MS)
  {
    return;
  }
  /* Finish a previous record before reusing its bounded buffer. */
  if (tx_buffer[tx_position] != '\0')
  {
    return;
  }
  last_report_ms = now;

  /* Sample the application-owned status without changing its recovery state. */
  const HapticAppStatus status = haptic_app_status;
  const char *mode = haptic_controller.mode == HAPTIC_AUTOPILOT ? "AUTO" : "MANUAL";
  const char *bus = status.software_i2c ? "GPIO" : "HW";
  if (haptic_controller.sensor_valid)
  {
    char roll[16];
    char pitch[16];
    char tilt[16];
    FormatAngle(roll, haptic_controller.angles.roll_deg);
    FormatAngle(pitch, haptic_controller.angles.pitch_deg);
    FormatAngle(tilt, haptic_controller.angles.tilt_deg);
    (void)snprintf(tx_buffer, sizeof tx_buffer,
        "mode=%s IMU=OK who=0x%02X reg=0x%02X HAL=%u err=0x%08lX bus=%s hwerr=0x%08lX roll=%s pitch=%s tilt=%s\r\n",
        mode, (unsigned)status.identity,
        (unsigned)status.register_address, (unsigned)status.hal_status,
        (unsigned long)status.i2c_error, bus,
        (unsigned long)status.hardware_error, roll, pitch, tilt);
  }
  else
  {
    (void)snprintf(tx_buffer, sizeof tx_buffer,
        "mode=%s IMU=FAULT fault=%s who=0x%02X reg=0x%02X HAL=%u err=0x%08lX bus=%s hwerr=0x%08lX\r\n",
        mode, FaultDescription(status.fault), (unsigned)status.identity,
        (unsigned)status.register_address, (unsigned)status.hal_status,
        (unsigned long)status.i2c_error, bus,
        (unsigned long)status.hardware_error);
    if (haptic_hw_i2c_status.captured || status.software_i2c)
    {
      AppendBusTrace();
    }
  }
  tx_position = 0U;
  tx_last_progress_ms = now;
}
#if defined(__GNUC__) && !defined(__clang__)
#pragma GCC pop_options
#endif
#endif

#ifndef HAPTIC_HOST_TEST
/* USER CODE END 0 */

int main(void)
{

  /* MCU Configuration--------------------------------------------------------*/

  /* Reset of all peripherals, Initializes the Flash interface and the Systick. */
  HAL_Init();

  /* Configure the system clock */
  SystemClock_Config();

  /* Initialize all configured peripherals */
  MX_GPIO_Init();
  MX_I2C1_Init();
  MX_TIM3_Init();
  /* USER CODE BEGIN 2 */
  /* Start the 50 Hz sensor/servo controller after generated peripheral setup. */
  HapticDiagnostics_Init();
  HapticApp_Init(&hi2c1, &htim3);
  /* USER CODE END 2 */

  /* Infinite loop */
  while (1)
  {

    /* USER CODE BEGIN 3 */
    HapticApp_Poll();
    HapticDiagnostics_Poll();
  }
  /* USER CODE END 3 */
}

void SystemClock_Config(void)
{
  RCC_OscInitTypeDef RCC_OscInitStruct = {0};
  RCC_ClkInitTypeDef RCC_ClkInitStruct = {0};

  __HAL_FLASH_SET_LATENCY(FLASH_LATENCY_1);

  /** Initializes the RCC Oscillators according to the specified parameters
  * in the RCC_OscInitTypeDef structure.
  */
  RCC_OscInitStruct.OscillatorType = RCC_OSCILLATORTYPE_HSI;
  RCC_OscInitStruct.HSIState = RCC_HSI_ON;
  RCC_OscInitStruct.HSIDiv = RCC_HSI_DIV1;
  RCC_OscInitStruct.HSICalibrationValue = RCC_HSICALIBRATION_DEFAULT;
  if (HAL_RCC_OscConfig(&RCC_OscInitStruct) != HAL_OK)
  {
    Error_Handler();
  }

  /** Initializes the CPU, AHB and APB buses clocks
  */
  RCC_ClkInitStruct.ClockType = RCC_CLOCKTYPE_HCLK|RCC_CLOCKTYPE_SYSCLK
                              |RCC_CLOCKTYPE_PCLK1;
  RCC_ClkInitStruct.SYSCLKSource = RCC_SYSCLKSOURCE_HSI;
  RCC_ClkInitStruct.SYSCLKDivider = RCC_SYSCLK_DIV1;
  RCC_ClkInitStruct.AHBCLKDivider = RCC_HCLK_DIV1;
  RCC_ClkInitStruct.APB1CLKDivider = RCC_APB1_DIV1;

  if (HAL_RCC_ClockConfig(&RCC_ClkInitStruct, FLASH_LATENCY_1) != HAL_OK)
  {
    Error_Handler();
  }
}

static void MX_I2C1_Init(void)
{

  hi2c1.Instance = I2C1;
  hi2c1.Init.Timing = 0x10805D88;
  hi2c1.Init.OwnAddress1 = 0;
  hi2c1.Init.AddressingMode = I2C_ADDRESSINGMODE_7BIT;
  hi2c1.Init.DualAddressMode = I2C_DUALADDRESS_DISABLE;
  hi2c1.Init.OwnAddress2 = 0;
  hi2c1.Init.OwnAddress2Masks = I2C_OA2_NOMASK;
  hi2c1.Init.GeneralCallMode = I2C_GENERALCALL_DISABLE;
  hi2c1.Init.NoStretchMode = I2C_NOSTRETCH_DISABLE;
  if (HAL_I2C_Init(&hi2c1) != HAL_OK)
  {
    Error_Handler();
  }

  /** Configure Analogue filter
  */
  if (HAL_I2CEx_ConfigAnalogFilter(&hi2c1, I2C_ANALOGFILTER_ENABLE) != HAL_OK)
  {
    Error_Handler();
  }

  /** Configure Digital filter
  */
  if (HAL_I2CEx_ConfigDigitalFilter(&hi2c1, 0) != HAL_OK)
  {
    Error_Handler();
  }

}

static void MX_TIM3_Init(void)
{

  TIM_ClockConfigTypeDef sClockSourceConfig = {0};
  TIM_MasterConfigTypeDef sMasterConfig = {0};
  TIM_OC_InitTypeDef sConfigOC = {0};

  htim3.Instance = TIM3;
  htim3.Init.Prescaler = 47;
  htim3.Init.CounterMode = TIM_COUNTERMODE_UP;
  htim3.Init.Period = 19999;
  htim3.Init.ClockDivision = TIM_CLOCKDIVISION_DIV1;
  htim3.Init.AutoReloadPreload = TIM_AUTORELOAD_PRELOAD_DISABLE;
  if (HAL_TIM_Base_Init(&htim3) != HAL_OK)
  {
    Error_Handler();
  }
  sClockSourceConfig.ClockSource = TIM_CLOCKSOURCE_INTERNAL;
  if (HAL_TIM_ConfigClockSource(&htim3, &sClockSourceConfig) != HAL_OK)
  {
    Error_Handler();
  }
  if (HAL_TIM_PWM_Init(&htim3) != HAL_OK)
  {
    Error_Handler();
  }
  sMasterConfig.MasterOutputTrigger = TIM_TRGO_RESET;
  sMasterConfig.MasterSlaveMode = TIM_MASTERSLAVEMODE_DISABLE;
  if (HAL_TIMEx_MasterConfigSynchronization(&htim3, &sMasterConfig) != HAL_OK)
  {
    Error_Handler();
  }
  sConfigOC.OCMode = TIM_OCMODE_PWM1;
  sConfigOC.Pulse = 0;
  sConfigOC.OCPolarity = TIM_OCPOLARITY_HIGH;
  sConfigOC.OCFastMode = TIM_OCFAST_DISABLE;
  if (HAL_TIM_PWM_ConfigChannel(&htim3, &sConfigOC, TIM_CHANNEL_1) != HAL_OK)
  {
    Error_Handler();
  }
  if (HAL_TIM_PWM_ConfigChannel(&htim3, &sConfigOC, TIM_CHANNEL_2) != HAL_OK)
  {
    Error_Handler();
  }
  sConfigOC.Pulse = 1500 ;
  if (HAL_TIM_PWM_ConfigChannel(&htim3, &sConfigOC, TIM_CHANNEL_3) != HAL_OK)
  {
    Error_Handler();
  }
  HAL_TIM_MspPostInit(&htim3);

}

static void MX_GPIO_Init(void)
{
  GPIO_InitTypeDef GPIO_InitStruct = {0};

  /* GPIO Ports Clock Enable */
  __HAL_RCC_GPIOC_CLK_ENABLE();
  __HAL_RCC_GPIOF_CLK_ENABLE();
  __HAL_RCC_GPIOA_CLK_ENABLE();
  __HAL_RCC_GPIOB_CLK_ENABLE();

  /*Configure GPIO pin Output Level */
  HAL_GPIO_WritePin(GPIOA, GPIO_PIN_2, GPIO_PIN_RESET);

  /*Configure GPIO pin Output Level */
  HAL_GPIO_WritePin(GPIOB, GPIO_PIN_11, GPIO_PIN_RESET);

  /*Configure GPIO pin : PA2 */
  GPIO_InitStruct.Pin = GPIO_PIN_2;
  GPIO_InitStruct.Mode = GPIO_MODE_OUTPUT_PP;
  GPIO_InitStruct.Pull = GPIO_NOPULL;
  GPIO_InitStruct.Speed = GPIO_SPEED_FREQ_LOW;
  HAL_GPIO_Init(GPIOA, &GPIO_InitStruct);

  /*Configure GPIO pin : VCP_USART2_RX_Pin */
  GPIO_InitStruct.Pin = VCP_USART2_RX_Pin;
  GPIO_InitStruct.Mode = GPIO_MODE_AF_PP;
  GPIO_InitStruct.Pull = GPIO_NOPULL;
  GPIO_InitStruct.Speed = GPIO_SPEED_FREQ_LOW;
  GPIO_InitStruct.Alternate = GPIO_AF1_USART2;
  HAL_GPIO_Init(VCP_USART2_RX_GPIO_Port, &GPIO_InitStruct);

  /*Configure GPIO pin : PB11 */
  GPIO_InitStruct.Pin = GPIO_PIN_11;
  GPIO_InitStruct.Mode = GPIO_MODE_OUTPUT_PP;
  GPIO_InitStruct.Pull = GPIO_NOPULL;
  GPIO_InitStruct.Speed = GPIO_SPEED_FREQ_LOW;
  HAL_GPIO_Init(GPIOB, &GPIO_InitStruct);

  /*Configure GPIO pin : PA12 */
  GPIO_InitStruct.Pin = GPIO_PIN_12;
  GPIO_InitStruct.Mode = GPIO_MODE_INPUT;
  GPIO_InitStruct.Pull = GPIO_PULLDOWN;
  HAL_GPIO_Init(GPIOA, &GPIO_InitStruct);

}

void Error_Handler(void)
{
  __disable_irq();
  while (1)
  {
  }
}

#endif /* !HAPTIC_HOST_TEST: generated firmware entry and peripheral setup */
